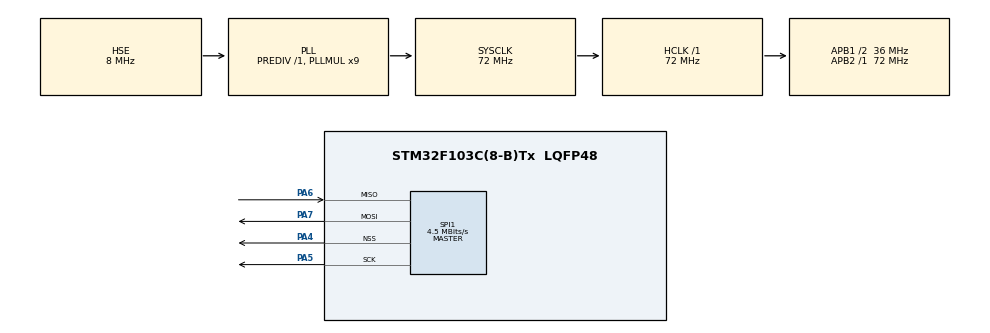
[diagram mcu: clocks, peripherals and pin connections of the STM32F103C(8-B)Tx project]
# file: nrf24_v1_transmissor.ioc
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Mcu.Family=STM32F1
Mcu.Name=STM32F103C(8-B)Tx
Mcu.Package=LQFP48
NVIC.PriorityGroup=NVIC_PRIORITYGROUP_4
PA13.Mode=Serial_Wire
PA13.Signal=SYS_JTMS-SWDIO
PA14.Mode=Serial_Wire
PA14.Signal=SYS_JTCK-SWCLK
PA4.Mode=NSS_Signal_Hard_Output
PA4.Signal=SPI1_NSS
PA5.Mode=Full_Duplex_Master
PA5.Signal=SPI1_SCK
PA6.Mode=Full_Duplex_Master
PA6.Signal=SPI1_MISO
PA7.Mode=Full_Duplex_Master
PA7.Signal=SPI1_MOSI
PD0-OSC_IN.Mode=HSE-External-Oscillator
PD0-OSC_IN.Signal=RCC_OSC_IN
PD1-OSC_OUT.Mode=HSE-External-Oscillator
PD1-OSC_OUT.Signal=RCC_OSC_OUT
ProjectManager.HeapSize=0x200
ProjectManager.StackSize=0x400
ProjectManager.TargetToolchain=MDK-ARM V5
RCC.AHBFreq_Value=72000000
RCC.APB1CLKDivider=RCC_HCLK_DIV2
RCC.APB1Freq_Value=36000000
RCC.APB1TimCLKDivider=1
RCC.APB1TimFreq_Value=36000000
RCC.APB2Freq_Value=72000000
RCC.APB2TimFreq_Value=72000000
RCC.HCLKFreq_Value=72000000
RCC.HSIState=RCC_HSI_ON
RCC.PLLMUL=RCC_PLL_MUL9
RCC.PLLSourceVirtual=RCC_PLLSOURCE_HSE
RCC.SYSCLKFreq_VALUE=72000000
RCC.SYSCLKSource=RCC_SYSCLKSOURCE_PLLCLK
RCC.USBFreq_Value=72000000
SPI1.BaudRatePrescaler=SPI_BAUDRATEPRESCALER_16
SPI1.CalculateBaudRate=4.5 MBits/s
SPI1.Mode=SPI_MODE_MASTER
SPI1.VirtualNSS=VM_NSSHARD
board=nrf24_v1_transmissor

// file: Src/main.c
/**
  ******************************************************************************
  * File Name          : main.c
  * Description        : Main program body
  ******************************************************************************
  *
  * COPYRIGHT(c) 2016 STMicroelectronics
  *
  * Redistribution and use in source and binary forms, with or without modification,
  * are permitted provided that the following conditions are met:
  *   1. Redistributions of source code must retain the above copyright notice,
  *      this list of conditions and the following disclaimer.
  *   2. Redistributions in binary form must reproduce the above copyright notice,
  *      this list of conditions and the following disclaimer in the documentation
  *      and/or other materials provided with the distribution.
  *   3. Neither the name of STMicroelectronics nor the names of its contributors
  *      may be used to endorse or promote products derived from this software
  *      without specific prior written permission.
  *
  * THIS SOFTWARE IS PROVIDED BY THE COPYRIGHT HOLDERS AND CONTRIBUTORS "AS IS"
  * AND ANY EXPRESS OR IMPLIED WARRANTIES, INCLUDING, BUT NOT LIMITED TO, THE
  * IMPLIED WARRANTIES OF MERCHANTABILITY AND FITNESS FOR A PARTICULAR PURPOSE ARE
  * DISCLAIMED. IN NO EVENT SHALL THE COPYRIGHT HOLDER OR CONTRIBUTORS BE LIABLE
  * FOR ANY DIRECT, INDIRECT, INCIDENTAL, SPECIAL, EXEMPLARY, OR CONSEQUENTIAL
  * DAMAGES (INCLUDING, BUT NOT LIMITED TO, PROCUREMENT OF SUBSTITUTE GOODS OR
  * SERVICES; LOSS OF USE, DATA, OR PROFITS; OR BUSINESS INTERRUPTION) HOWEVER
  * CAUSED AND ON ANY THEORY OF LIABILITY, WHETHER IN CONTRACT, STRICT LIABILITY,
  * OR TORT (INCLUDING NEGLIGENCE OR OTHERWISE) ARISING IN ANY WAY OUT OF THE USE
  * OF THIS SOFTWARE, EVEN IF ADVISED OF THE POSSIBILITY OF SUCH DAMAGE.
  *
  ******************************************************************************
  **/

#include "stm32f1xx_hal.h"

/* USER CODE BEGIN Includes */

#include "nrf24l01.h"

/* USER CODE END Includes */

SPI_HandleTypeDef hspi1;

/* USER CODE BEGIN PV */
/* Private variables ---------------------------------------------------------*/

/* USER CODE END PV */

void SystemClock_Config(void);
static void MX_GPIO_Init(void);
static void MX_SPI1_Init(void);

/* USER CODE BEGIN PFP */
/* Private function prototypes -----------------------------------------------*/
/* USER CODE END PFP */

/* USER CODE BEGIN 0 */

struct structPackage{			// Size should not exceed 32Bytes
	uint8_t xAxis;
	uint8_t yAxis;
	uint8_t zAxis;
	uint8_t text[28];

} txPackage;

// Transmitter pipe address - Same of one of the pipe of receiver
uint8_t pipeOut[] = { 0xE7, 0xE6, 0xE5, 0xE4, 0xE3 };

/* USER CODE END 0 */

int main(void)
{

  /* MCU Configuration----------------------------------------------------------*/

  /* Reset of all peripherals, Initializes the Flash interface and the Systick. */
  HAL_Init();

  /* Configure the system clock */
  SystemClock_Config();

  /* Initialize all configured peripherals */
  MX_GPIO_Init();
  MX_SPI1_Init();

  /* USER CODE BEGIN 2 */

	// Need to declare pins and ports of nrf24l01
	NRF24L01_Pins_t NRF24L01_Pins;

	NRF24L01_Pins.CE.GPIOx = GPIOB;
	NRF24L01_Pins.CE.GPIO_Pin = GPIO_PIN_0;
	NRF24L01_Pins.CSN.GPIOx = GPIOA;								// Declara pinos especificos da spi
	NRF24L01_Pins.CSN.GPIO_Pin = GPIO_PIN_4;
	NRF24L01_Pins.IRQ.GPIOx = NULL;									// Interrupt pin is not used yet
	NRF24L01_Pins.IRQ.GPIO_Pin = NULL;
	NRF24L01_Pins.MISO.GPIOx = GPIOA;
	NRF24L01_Pins.MISO.GPIO_Pin = GPIO_PIN_6;
	NRF24L01_Pins.MOSI.GPIOx = GPIOA;
	NRF24L01_Pins.MOSI.GPIO_Pin = GPIO_PIN_7;
	NRF24L01_Pins.SCK.GPIOx = GPIOA;
	NRF24L01_Pins.SCK.GPIO_Pin = GPIO_PIN_5;

	uint8_t channel = 80;											// Channel(decimal)
	uint8_t payload = sizeof(txPackage);

	/* Initialize NRF24L01 on channel 80 and n bytes of payload */
  /* By default 2Mbps data rate and 0dBm output power */
  NRF24L01_Init( channel, payload, &hspi1, NRF24L01_Pins );			//REVER

	/* Set 2MBps data rate and -18dBm output power */
  NRF24L01_SetRF( NRF24L01_DataRate_1M, NRF24L01_OutputPower_0dBm);

	/* Enable auto acknolodgment */
	NRF24L01_SetAutoAck(0xFF, 0);									// 0xFF Enable all or if you want enable just pipe 3, insert 3
																								// Have some troble with ack enable... many lost packages

	/* Enable CRC 2bytes */
	NRF24L01_SetCrcLength( NRF24L01_CRC_16 );

	/* Open a writing pipe with an address*/
	NRF24L01_OpenWritingPipe(pipeOut);
	HAL_Delay(1);

  /* USER CODE END 2 */

  /* Infinite loop */
  /* USER CODE BEGIN WHILE */

	uint32_t sent_at = 0;					// hold the time of last transmission

	uint32_t value = 0;

	txPackage.xAxis = 0;
	txPackage.yAxis = 0;
	txPackage.zAxis = 0;
	memset( &txPackage.text, '\0', sizeof(txPackage.text)); // clean variables

  while (1)
  {

		// Send a message every second
		if( HAL_GetTick() - sent_at > 1000 )
		{
			txPackage.xAxis = value;
			txPackage.yAxis = value+2;
			txPackage.zAxis = value+3;

			value++;

			//sprintf((char *)txPackage.text, "Hello world!");
			snprintf((char *)txPackage.text, sizeof(txPackage.text), "x: %d, y:%d, z:%d\n", txPackage.xAxis, txPackage.yAxis, txPackage.zAxis );

			NRF24L01_Transmit_Status_t txStatus = NRF24L01_Transmit(&txPackage);

			//if( txStatus != NRF24L01_Transmit_Status_Ok ) failCount++;

			sent_at = HAL_GetTick();
		}

  /* USER CODE END WHILE */

  }

}

/** System Clock Configuration
*/
void SystemClock_Config(void)
{

  RCC_OscInitTypeDef RCC_OscInitStruct;
  RCC_ClkInitTypeDef RCC_ClkInitStruct;

  RCC_OscInitStruct.OscillatorType = RCC_OSCILLATORTYPE_HSE;
  RCC_OscInitStruct.HSEState = RCC_HSE_ON;
  RCC_OscInitStruct.HSEPredivValue = RCC_HSE_PREDIV_DIV1;
  RCC_OscInitStruct.PLL.PLLState = RCC_PLL_ON;
  RCC_OscInitStruct.PLL.PLLSource = RCC_PLLSOURCE_HSE;
  RCC_OscInitStruct.PLL.PLLMUL = RCC_PLL_MUL9;
  HAL_RCC_OscConfig(&RCC_OscInitStruct);

  RCC_ClkInitStruct.ClockType = RCC_CLOCKTYPE_HCLK|RCC_CLOCKTYPE_SYSCLK
                              |RCC_CLOCKTYPE_PCLK1|RCC_CLOCKTYPE_PCLK2;
  RCC_ClkInitStruct.SYSCLKSource = RCC_SYSCLKSOURCE_PLLCLK;
  RCC_ClkInitStruct.AHBCLKDivider = RCC_SYSCLK_DIV1;
  RCC_ClkInitStruct.APB1CLKDivider = RCC_HCLK_DIV2;
  RCC_ClkInitStruct.APB2CLKDivider = RCC_HCLK_DIV1;
  HAL_RCC_ClockConfig(&RCC_ClkInitStruct, FLASH_LATENCY_2);

  HAL_SYSTICK_Config(HAL_RCC_GetHCLKFreq()/1000);

  HAL_SYSTICK_CLKSourceConfig(SYSTICK_CLKSOURCE_HCLK);

  /* SysTick_IRQn interrupt configuration */
  HAL_NVIC_SetPriority(SysTick_IRQn, 0, 0);
}

/* SPI1 init function */
void MX_SPI1_Init(void)
{

  hspi1.Instance = SPI1;
  hspi1.Init.Mode = SPI_MODE_MASTER;
  hspi1.Init.Direction = SPI_DIRECTION_2LINES;
  hspi1.Init.DataSize = SPI_DATASIZE_8BIT;
  hspi1.Init.CLKPolarity = SPI_POLARITY_LOW;
  hspi1.Init.CLKPhase = SPI_PHASE_1EDGE;
  hspi1.Init.NSS = SPI_NSS_HARD_OUTPUT;
  hspi1.Init.BaudRatePrescaler = SPI_BAUDRATEPRESCALER_16;
  hspi1.Init.FirstBit = SPI_FIRSTBIT_MSB;
  hspi1.Init.TIMode = SPI_TIMODE_DISABLE;
  hspi1.Init.CRCCalculation = SPI_CRCCALCULATION_DISABLE;
  hspi1.Init.CRCPolynomial = 10;
  HAL_SPI_Init(&hspi1);

}

/** Configure pins as
        * Analog
        * Input
        * Output
        * EVENT_OUT
        * EXTI
*/
void MX_GPIO_Init(void)
{

  /* GPIO Ports Clock Enable */
  __HAL_RCC_GPIOD_CLK_ENABLE();
  __HAL_RCC_GPIOA_CLK_ENABLE();

}

/************************ (C) COPYRIGHT STMicroelectronics *****END OF FILE****/
